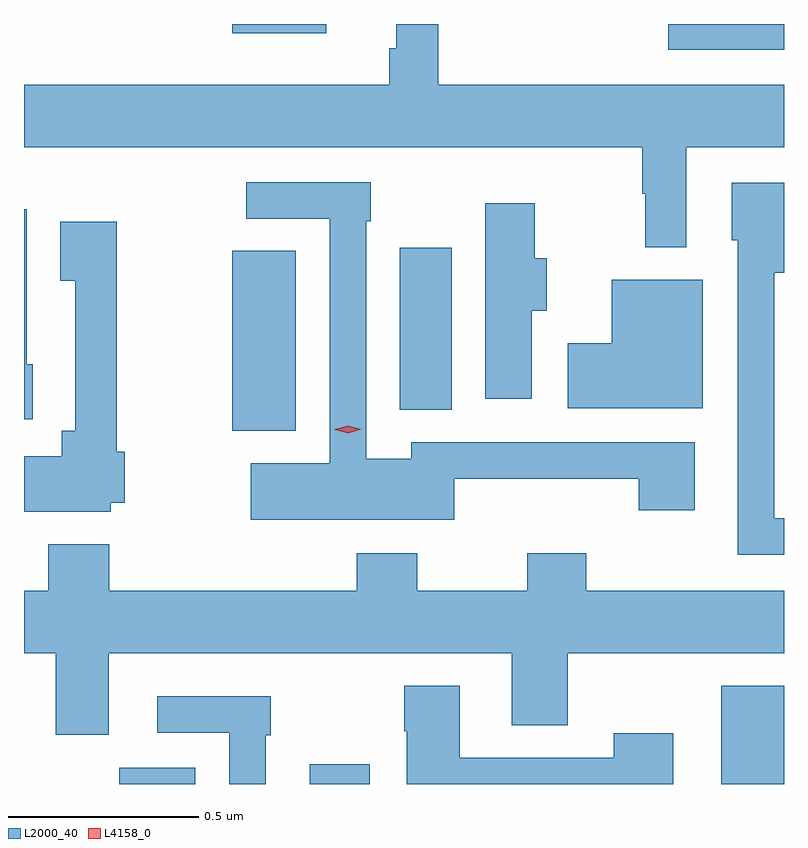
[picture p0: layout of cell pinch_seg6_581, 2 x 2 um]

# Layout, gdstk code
import gdstk
lib = gdstk.Library(unit=1e-6, precision=1e-09)
def R(c, l, rs):  # rectangles x0, y0, x1, y1
    for r in rs: c.add(gdstk.rectangle(r[:2], r[2:], *l))
def P(c, l, *ps):  # polygons
    for p in ps: c.add(gdstk.Polygon(p, *l))
L2000_40 = (2000, 40)
L4158_0 = (4158, 0)

pinch_seg6_581 = lib.new_cell('pinch_seg6_581')
R(pinch_seg6_581, L2000_40, [(586.199,962.976,586.399,963.019), (586.7,962.976,586.858,963.028), (587.783,962.976,587.948,963.235), (586.496,963.905,586.663,964.379), (586.937,963.961,587.074,964.387), (587.643,964.908,587.948,964.976), (586.496,964.952,586.744,964.976)])
P(pinch_seg6_581, L2000_40, [(587.691,964.652),(587.948,964.652),(587.948,964.816),(587.038,964.816),(587.038,964.976),(586.928,964.976),(586.928,964.912),(586.909,964.912),(586.909,964.816),(585.948,964.816),(585.948,964.652),(587.575,964.652),(587.575,964.529),(587.583,964.529),(587.583,964.389),(587.691,964.389)],
  [(587.08,963.779),(587.566,963.779),(587.566,963.696),(587.713,963.696),(587.713,963.876),(586.967,963.876),(586.967,963.832),(586.848,963.832),(586.848,964.457),(586.861,964.457),(586.861,964.56),(586.533,964.56),(586.533,964.464),(586.752,964.464),(586.752,963.82),(586.545,963.82),(586.545,963.671),(587.08,963.671)],
  [(587.948,963.675),(587.922,963.675),(587.922,964.322),(587.948,964.322),(587.948,964.558),(587.81,964.558),(587.81,964.407),(587.826,964.407),(587.826,963.579),(587.948,963.579)],
  [(587.284,964.222),(587.323,964.222),(587.323,964.359),(587.292,964.359),(587.292,964.504),(587.162,964.504),(587.162,963.99),(587.284,963.99)],
  [(585.971,964.08),(585.955,964.08),(585.955,964.489),(585.948,964.489),(585.948,963.936),(585.971,963.936)],
  [(586.176,963.716),(586.213,963.716),(586.213,963.851),(586.192,963.851),(586.192,964.456),(586.043,964.456),(586.043,964.3),(586.083,964.3),(586.083,963.906),(586.047,963.906),(586.047,963.838),(585.948,963.838),(585.948,963.692),(586.176,963.692)],
  [(587.734,964.303),(587.495,964.303),(587.495,964.136),(587.379,964.136),(587.379,963.965),(587.734,963.965)],
  [(586.171,963.32),(587.231,963.32),(587.231,963.13),(587.379,963.13),(587.379,963.32),(587.948,963.32),(587.948,963.484),(587.427,963.484),(587.427,963.583),(587.272,963.583),(587.272,963.484),(586.983,963.484),(586.983,963.583),(586.823,963.583),(586.823,963.484),(586.172,963.484),(586.172,963.607),(586.012,963.607),(586.012,963.484),(585.948,963.484),(585.948,963.32),(586.031,963.32),(586.031,963.105),(586.171,963.105)],
  [(587.656,963.109),(587.5,963.109),(587.5,963.045),(587.095,963.045),(587.095,963.235),(586.948,963.235),(586.948,963.115),(586.955,963.115),(586.955,962.976),(587.656,962.976)],
  [(586.584,963.104),(586.597,963.104),(586.597,963.207),(586.299,963.207),(586.299,963.111),(586.488,963.111),(586.488,962.976),(586.584,962.976)])
P(pinch_seg6_581, L4158_0, [(586.801,963.899),(586.766,963.908),(586.766,963.909),(586.766,963.909),(586.801,963.919),(586.836,963.909),(586.836,963.909),(586.836,963.909)])

lib.write_gds('pinch_seg6_581.gds')
